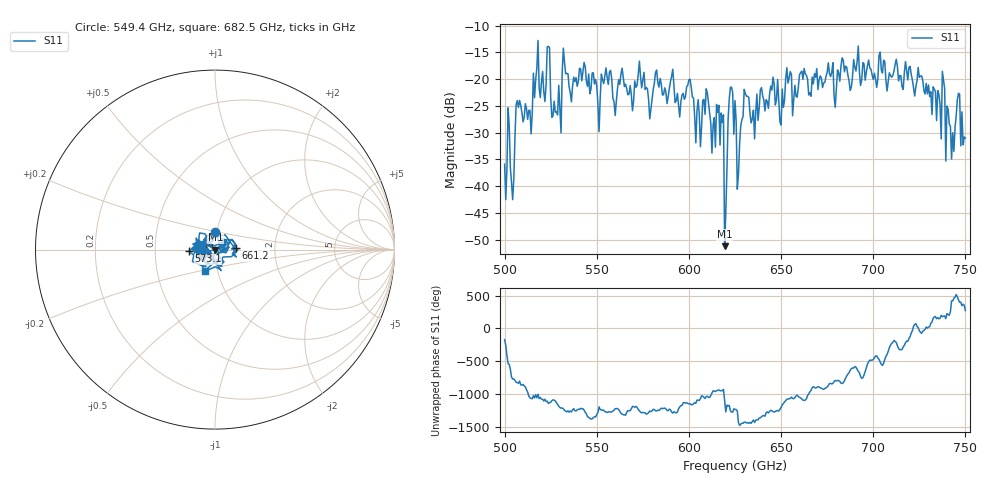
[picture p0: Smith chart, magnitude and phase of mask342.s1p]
!Created with skrf (http://scikit-rf.org).
# GHz S MA R 50.0
!freq magS11 angS11
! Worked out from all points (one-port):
!   401 points, 500 GHz to 750 GHz, reference 50 ohm
!   lowest |S11| = -51.2 dB at 619.4 GHz (marker M1), VSWR 1.01, Z = 50.3 - j0.0901 ohm
!   |S11| at or under -10 dB: start of sweep to end of sweep
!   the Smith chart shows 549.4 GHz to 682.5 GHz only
!   S11 on the Smith chart (normalised r, x): 549.4 GHz: 0.98, +0.20; 573.1 GHz: 0.74, -0.01; 661.2 GHz: 1.27, +0.02; 682.5 GHz: 0.87, -0.21
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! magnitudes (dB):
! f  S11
! 500 GHz  -35.9
! 504.4 GHz  -42.5
! 507.5 GHz  -25.3
! 513.8 GHz  -25.8
! 516.9 GHz  -20.1
! 523.8 GHz  -13.9
! 526.9 GHz  -24.1
! 531.2 GHz  -18.6
! 549.4 GHz  -20.1
! 562.5 GHz  -21.0
! 573.1 GHz  -16.7
! 593.8 GHz  -22.7
! 600 GHz  -20.1
! 605 GHz  -23.8
! 616.2 GHz  -24.9
! 619.4 GHz  -51.2
! 620.6 GHz  -37.0
! 622.5 GHz  -21.5
! 625 GHz  -24.0
! 627.5 GHz  -32.1
! 631.2 GHz  -23.2
! 634.4 GHz  -27.4
! 656.2 GHz  -26.8
! 661.2 GHz  -18.5
! 682.5 GHz  -17.6
! 687.5 GHz  -22.1
! 718.8 GHz  -20.2
! 750 GHz  -31.0
